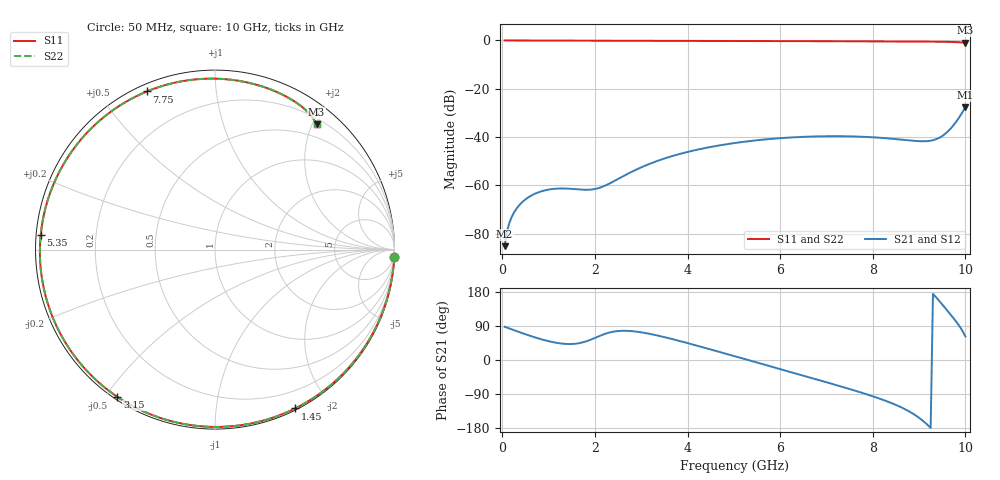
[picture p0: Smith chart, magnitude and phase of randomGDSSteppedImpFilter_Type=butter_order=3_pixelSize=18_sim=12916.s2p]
! freq	dB(S11)	phase(S11)	dB(S12)	phase(S12)
!  dB(S21)	phase(S21)	dB(S22)	phase(S22)
!S-par simulation data
#  GHz  S  DB  R 50
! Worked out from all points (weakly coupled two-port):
!   200 points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, 50 MHz to 10 GHz, reference 50 ohm
!   highest |S21| = -27.68 dB at 10 GHz (marker M1); lowest = -85.2 dB at 50 MHz (marker M2)
!   lowest |S11| = -0.9 dB at 10 GHz (marker M3), VSWR 18.79, Z = 14.2 + j103 ohm
!   |S11| at or under -10 dB: nowhere
!   |S22| runs from -0.9 to 0.0 dB; largest |S21 - S12| = 0
!   S11 on the Smith chart (normalised r, x): 50 MHz: 0, -50; 1.45 GHz: 0.02, -1.62; 3.15 GHz: 0.01, -0.54; 5.35 GHz: 0.01, +0.04; 7.75 GHz: 0.03, +0.66; 10 GHz: 0.28, +2.07
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0.05  -0.00 -2.3  -85.15 87.7  -85.15 87.7  -0.00 -2.3
0.1  -0.00 -4.6  -79.15 85.5  -79.15 85.5  -0.00 -4.6
0.2  -0.01 -9.1  -73.21 81.0  -73.21 81.0  -0.01 -9.1
0.3  -0.02 -13.7  -69.82 76.5  -69.82 76.5  -0.02 -13.7
0.55  -0.03 -24.9  -65.10 65.9  -65.10 65.9  -0.03 -24.9
0.95  -0.05 -42.4  -61.92 51.2  -61.92 51.2  -0.05 -42.4
1.45  -0.08 -63.2  -61.38 42.1  -61.38 42.1  -0.08 -63.2
1.75  -0.09 -75.1  -61.81 46.9  -61.81 46.9  -0.09 -75.1
2.15  -0.10 -90.0  -60.65 66.0  -60.65 66.0  -0.10 -90.0
3.15  -0.14 -123.6  -51.31 69.8  -51.31 69.8  -0.14 -123.6
3.4  -0.14 -131.2  -49.52 63.3  -49.52 63.3  -0.14 -131.2
4.2  -0.17 -154.3  -45.25 37.9  -45.25 37.9  -0.17 -154.3
5.05  -0.21 -177.0  -42.37 8.9  -42.37 8.9  -0.21 -177.0
5.35  -0.22 175.2  -41.64 -1.5  -41.64 -1.5  -0.22 175.2
6  -0.26 158.6  -40.45 -23.9  -40.45 -23.9  -0.26 158.6
6.7  -0.30 140.7  -39.76 -48.2  -39.76 -48.2  -0.30 140.7
7.75  -0.36 113.3  -39.84 -85.9  -39.84 -85.9  -0.36 113.3
8.35  -0.40 97.1  -40.57 -111.1  -40.57 -111.1  -0.40 97.1
9.1  -0.47 76.4  -41.73 -162.2  -41.73 -162.2  -0.47 76.4
9.4  -0.51 67.9  -40.63 161.0  -40.63 161.0  -0.51 67.9
9.7  -0.61 59.1  -36.08 116.8  -36.08 116.8  -0.61 59.1
10  -0.93 51.0  -27.68 62.1  -27.68 62.1  -0.93 51.0
